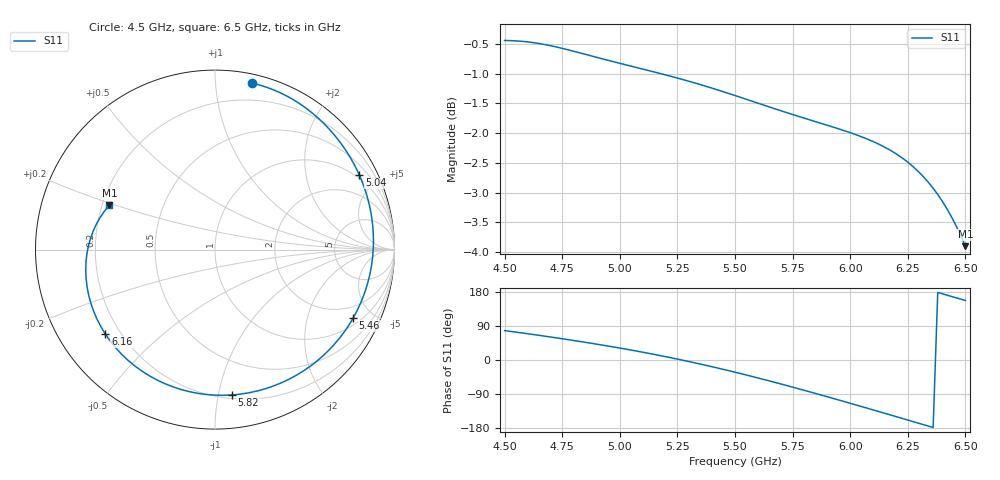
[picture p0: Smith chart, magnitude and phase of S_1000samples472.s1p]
! TOUCHSTONE file generated by CST MICROWAVE STUDIO
! Date and time: Fri Oct 28 06:59:02 2022
! Project name: L.cst
! Parameters = {Di=1.27; Epsilon_r=1.56; InnerDiameter=1.27; Length=2; Lf=10; Lg=60; OuterConductorThickness=0.2921; OuterDiameter=3.6; Wf=3; Wp=41.2; de=1.5; df=6.8; g=0.8; gx=2.8499; gy=1.46184; h=2.34; hf=1.524; px=8.19847; py=11.0234; w=9.7; wx=5.34857; wy=9.56161}
! Header version: 2018
! Port assignment regex: !\s*Touchstone port\s*([0-9]+)\s*=\s*(CST MWS port|CST DS port)\s*([0-9]+|Zmin|Zmax)\s*\(\"(.*)\"\)(\s*mode\s*([0-9]+))?.*
! Touchstone port assignment:
! Touchstone port 1 = CST MWS port 1 ("")
# GHz S DB R 50
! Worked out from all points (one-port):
!   101 points, 4.5 GHz to 6.5 GHz, reference 50 ohm
!   lowest |S11| = -3.9 dB at 6.5 GHz (marker M1), VSWR 4.53, Z = 11.5 + j9.57 ohm
!   |S11| at or under -10 dB: nowhere
!   S11 on the Smith chart (normalised r, x): 4.5 GHz: 0.07, +1.24; 5.04 GHz: 0.87, +3.96; 5.46 GHz: 1.32, -3.85; 5.82 GHz: 0.23, -1.10; 6.16 GHz: 0.14, -0.33; 6.5 GHz: 0.23, +0.19
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4.5  -0.44 77.5
4.62  -0.48 67.6
4.76  -0.59 55.1
4.88  -0.71 43.7
5  -0.83 31.5
5.04  -0.87 27.2
5.16  -0.98 13.5
5.26  -1.09 1.1
5.36  -1.20 -12.2
5.42  -1.27 -20.5
5.46  -1.32 -26.3
5.5  -1.37 -32.2
5.56  -1.45 -41.3
5.64  -1.55 -53.8
5.7  -1.63 -63.4
5.76  -1.70 -73.3
5.82  -1.77 -83.3
5.9  -1.87 -96.9
5.94  -1.92 -103.8
6  -1.99 -114.2
6.08  -2.11 -128.3
6.16  -2.26 -142.4
6.22  -2.40 -153.1
6.26  -2.52 -160.2
6.32  -2.74 -171.0
6.38  -3.03 178.3
6.44  -3.41 167.6
6.5  -3.90 157.2
